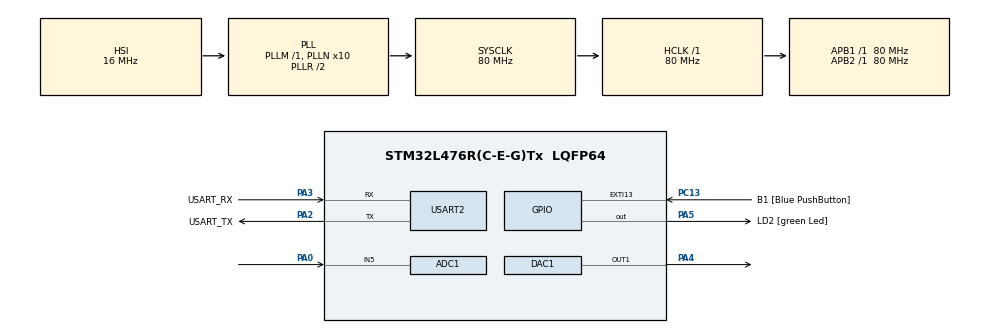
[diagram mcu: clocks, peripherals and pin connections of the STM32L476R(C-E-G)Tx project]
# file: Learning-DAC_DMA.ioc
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ADC1.Channel-0\#ChannelRegularConversion=ADC_CHANNEL_5
ADC1.ContinuousConvMode=ENABLE
ADC1.DMAContinuousRequests=ENABLE
ADC1.NbrOfConversionFlag=1
ADC1.OffsetNumber-0\#ChannelRegularConversion=ADC_OFFSET_NONE
ADC1.Rank-0\#ChannelRegularConversion=1
ADC1.SamplingTime-0\#ChannelRegularConversion=ADC_SAMPLETIME_2CYCLES_5
ADC1.master=1
DAC1.DAC_Trigger-DAC_OUT1=DAC_TRIGGER_T2_TRGO
Dma.ADC1.1.Direction=DMA_PERIPH_TO_MEMORY
Dma.ADC1.1.Instance=DMA2_Channel3
Dma.ADC1.1.MemDataAlignment=DMA_MDATAALIGN_HALFWORD
Dma.ADC1.1.MemInc=DMA_MINC_ENABLE
Dma.ADC1.1.Mode=DMA_CIRCULAR
Dma.ADC1.1.PeriphDataAlignment=DMA_PDATAALIGN_HALFWORD
Dma.ADC1.1.PeriphInc=DMA_PINC_DISABLE
Dma.ADC1.1.Priority=DMA_PRIORITY_LOW
Dma.DAC_CH1.0.Direction=DMA_MEMORY_TO_PERIPH
Dma.DAC_CH1.0.Instance=DMA1_Channel3
Dma.DAC_CH1.0.MemDataAlignment=DMA_MDATAALIGN_WORD
Dma.DAC_CH1.0.MemInc=DMA_MINC_ENABLE
Dma.DAC_CH1.0.Mode=DMA_CIRCULAR
Dma.DAC_CH1.0.PeriphDataAlignment=DMA_PDATAALIGN_WORD
Dma.DAC_CH1.0.PeriphInc=DMA_PINC_DISABLE
Dma.DAC_CH1.0.Priority=DMA_PRIORITY_LOW
Dma.Request0=DAC_CH1
Dma.Request1=ADC1
Mcu.Family=STM32L4
Mcu.Name=STM32L476R(C-E-G)Tx
Mcu.Package=LQFP64
NVIC.DMA1_Channel3_IRQn=true\:0\:0\:false\:false\:true\:false\:true\:true
NVIC.DMA2_Channel3_IRQn=true\:0\:0\:false\:false\:true\:false\:true\:true
NVIC.PriorityGroup=NVIC_PRIORITYGROUP_4
PA0.Signal=ADCx_IN5
PA13\ (JTMS-SWDIO).GPIO_Label=TMS
PA13\ (JTMS-SWDIO).Mode=Serial_Wire
PA13\ (JTMS-SWDIO).Signal=SYS_JTMS-SWDIO
PA14\ (JTCK-SWCLK).GPIO_Label=TCK
PA14\ (JTCK-SWCLK).Mode=Serial_Wire
PA14\ (JTCK-SWCLK).Signal=SYS_JTCK-SWCLK
PA2.GPIO_Label=USART_TX
PA2.GPIO_Mode=GPIO_MODE_AF_PP
PA2.GPIO_PuPd=GPIO_NOPULL
PA2.GPIO_Speed=GPIO_SPEED_FREQ_VERY_HIGH
PA2.Mode=Asynchronous
PA2.Signal=USART2_TX
PA3.GPIO_Label=USART_RX
PA3.GPIO_Mode=GPIO_MODE_AF_PP
PA3.GPIO_PuPd=GPIO_NOPULL
PA3.GPIO_Speed=GPIO_SPEED_FREQ_VERY_HIGH
PA3.Mode=Asynchronous
PA3.Signal=USART2_RX
PA4.Signal=COMP_DAC11_group
PA5.GPIO_Label=LD2 [green Led]
PA5.GPIO_ModeDefaultOutputPP=GPIO_MODE_OUTPUT_PP
PA5.GPIO_PuPd=GPIO_NOPULL
PA5.GPIO_Speed=GPIO_SPEED_FREQ_LOW
PA5.Signal=GPIO_Output
PB3\ (JTDO-TRACESWO).GPIO_Label=SWO
PB3\ (JTDO-TRACESWO).Signal=SYS_JTDO-SWO
PC13.GPIO_Label=B1 [Blue PushButton]
PC13.GPIO_ModeDefaultEXTI=GPIO_MODE_IT_FALLING
PC13.GPIO_PuPd=GPIO_NOPULL
PC13.Signal=GPXTI13
PC14-OSC32_IN\ (PC14).Mode=LSE-External-Oscillator
PC14-OSC32_IN\ (PC14).Signal=RCC_OSC32_IN
PC15-OSC32_OUT\ (PC15).Mode=LSE-External-Oscillator
PC15-OSC32_OUT\ (PC15).Signal=RCC_OSC32_OUT
PH0-OSC_IN\ (PH0).Signal=RCC_OSC_IN
PH1-OSC_OUT\ (PH1).Signal=RCC_OSC_OUT
ProjectManager.HeapSize=0x200
ProjectManager.StackSize=0x400
ProjectManager.TargetToolchain=STM32CubeIDE
RCC.ADCFreq_Value=64000000
RCC.AHBFreq_Value=80000000
RCC.APB1Freq_Value=80000000
RCC.APB1TimFreq_Value=80000000
RCC.APB2Freq_Value=80000000
RCC.APB2TimFreq_Value=80000000
RCC.CortexFreq_Value=80000000
RCC.HCLKFreq_Value=80000000
RCC.HSE_VALUE=8000000
RCC.HSI_VALUE=16000000
RCC.MSI_VALUE=4000000
RCC.PLLN=10
RCC.PLLSourceVirtual=RCC_PLLSOURCE_HSI
RCC.PREFETCH_ENABLE=1
RCC.SYSCLKFreq_VALUE=80000000
RCC.SYSCLKSource=RCC_SYSCLKSOURCE_PLLCLK
RCC.USBFreq_Value=64000000
RCC.VCOOutputFreq_Value=160000000
SH.ADCx_IN5.0=ADC1_IN5,IN5-Single-Ended
SH.COMP_DAC11_group.0=DAC1_OUT1,DAC_OUT1
TIM2.Period=624
TIM2.TIM_MasterOutputTrigger=TIM_TRGO_UPDATE
USART2.VirtualMode-Asynchronous=VM_ASYNC
VP_TIM2_VS_ClockSourceINT.Mode=Internal
board=NUCLEO-L476RG

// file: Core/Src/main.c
/* USER CODE BEGIN Header */
/**
  ******************************************************************************
  * @file           : main.c
  * @brief          : Main program body
  ******************************************************************************
  * @attention
  *
  * Copyright (c) 2023 STMicroelectronics.
  * All rights reserved.
  *
  * This software is licensed under terms that can be found in the LICENSE file
  * in the root directory of this software component.
  * If no LICENSE file comes with this software, it is provided AS-IS.
  *
  ******************************************************************************
  */
/* USER CODE END Header */
#include "main.h"

ADC_HandleTypeDef hadc1;
DMA_HandleTypeDef hdma_adc1;

DAC_HandleTypeDef hdac1;
DMA_HandleTypeDef hdma_dac_ch1;

TIM_HandleTypeDef htim2;

UART_HandleTypeDef huart2;

/* USER CODE BEGIN PV */
uint32_t value[2]={0,0};
/* USER CODE END PV */

void SystemClock_Config(void);
static void MX_GPIO_Init(void);
static void MX_DMA_Init(void);
static void MX_USART2_UART_Init(void);
static void MX_DAC1_Init(void);
static void MX_ADC1_Init(void);
static void MX_TIM2_Init(void);

int main(void)
{
  /* USER CODE BEGIN 1 */
	// My loop increment for
	int i = 0;
	// My sinus lookup table (n = 128)
	uint32_t sinus_lut[]={
		2047,2128,2209,2289,2369,2449,2528,2606,2684,2760,2835,2909,2982,3053,3123,3191,3257,3321,3384,3444,3502,3558,3611,3662,3711,3756,3800,3840,3878,3913,3944,3973,3999,4022,4042,4059,4072,4082,4090,4094,4094,4092,4086,4078,4066,4051,4032,4011,3987,3959,3929,3895,3859,3820,3778,3734,3687,3637,3585,3530,3473,3414,3353,3289,3224,3157,3088,3018,2946,2872,2798,2722,2645,2567,2489,2409,2329,2249,2168,2087,2007,1926,1845,1765,1685,1605,1527,1449,1372,1296,1222,1148,1076,1006,937,870,805,741,680,621,564,509,457,407,360,316,274,235,199,165,135,107,83,62,43,28,16,8,2,0,0,4,12,22,35,52,72,95,121,150,181,216,254,294,338,383,432,483,536,592,650,710,773,837,903,971,1041,1112,1185,1259,1334,1410,1488,1566,1645,1725,1805,1885,1966,2047
	};
	// Calculate the number of elements in my sinus lookup table
	int n = 0;
	n = sizeof(sinus_lut)/sizeof(uint32_t);
	// I don't take the last element because it is equal to the first
	n -= 1;
  /* USER CODE END 1 */

  /* MCU Configuration--------------------------------------------------------*/

  /* Reset of all peripherals, Initializes the Flash interface and the Systick. */
  HAL_Init();

  /* Configure the system clock */
  SystemClock_Config();

  /* Initialize all configured peripherals */
  MX_GPIO_Init();
  MX_DMA_Init();
  MX_USART2_UART_Init();
  MX_DAC1_Init();
  MX_ADC1_Init();
  MX_TIM2_Init();
  /* USER CODE BEGIN 2 */
  // Start DAC with DMA
  HAL_DAC_Start_DMA(&hdac1, DAC_CHANNEL_1, (uint32_t*)sinus_lut, n, DAC_ALIGN_12B_R);
  HAL_TIM_Base_Start(&htim2);
  HAL_ADCEx_Calibration_Start(&hadc1, ADC_SINGLE_ENDED);
  /* USER CODE END 2 */

  /* Infinite loop */
  /* USER CODE BEGIN WHILE */
  while (1)
  {
	if(i==0)
	{
		// Set
		HAL_GPIO_WritePin(LD2_GPIO_Port, LD2_Pin, GPIO_PIN_SET);
		// read adc
		HAL_ADC_Start_DMA(&hadc1, &value[1], 1);
		// map it
		i = 1;
		// reset
		HAL_GPIO_WritePin(LD2_GPIO_Port, LD2_Pin, GPIO_PIN_RESET);
	    // wait 1 ms
	    HAL_Delay(1);
	}
	else
	{
		// Set
		HAL_GPIO_WritePin(LD2_GPIO_Port, LD2_Pin, GPIO_PIN_SET);
		// read adc
		HAL_ADC_Start_DMA(&hadc1, &value[0], 1);
		// map it
		i = 0;
		// reset
		HAL_GPIO_WritePin(LD2_GPIO_Port, LD2_Pin, GPIO_PIN_RESET);
	    // wait 1 ms
	    HAL_Delay(1);
	}
    /* USER CODE END WHILE */

  }
}

void SystemClock_Config(void)
{
  RCC_OscInitTypeDef RCC_OscInitStruct = {0};
  RCC_ClkInitTypeDef RCC_ClkInitStruct = {0};

  /** Configure the main internal regulator output voltage
  */
  if (HAL_PWREx_ControlVoltageScaling(PWR_REGULATOR_VOLTAGE_SCALE1) != HAL_OK)
  {
    Error_Handler();
  }

  /** Initializes the RCC Oscillators according to the specified parameters
  * in the RCC_OscInitTypeDef structure.
  */
  RCC_OscInitStruct.OscillatorType = RCC_OSCILLATORTYPE_HSI;
  RCC_OscInitStruct.HSIState = RCC_HSI_ON;
  RCC_OscInitStruct.HSICalibrationValue = RCC_HSICALIBRATION_DEFAULT;
  RCC_OscInitStruct.PLL.PLLState = RCC_PLL_ON;
  RCC_OscInitStruct.PLL.PLLSource = RCC_PLLSOURCE_HSI;
  RCC_OscInitStruct.PLL.PLLM = 1;
  RCC_OscInitStruct.PLL.PLLN = 10;
  RCC_OscInitStruct.PLL.PLLP = RCC_PLLP_DIV7;
  RCC_OscInitStruct.PLL.PLLQ = RCC_PLLQ_DIV2;
  RCC_OscInitStruct.PLL.PLLR = RCC_PLLR_DIV2;
  if (HAL_RCC_OscConfig(&RCC_OscInitStruct) != HAL_OK)
  {
    Error_Handler();
  }

  /** Initializes the CPU, AHB and APB buses clocks
  */
  RCC_ClkInitStruct.ClockType = RCC_CLOCKTYPE_HCLK|RCC_CLOCKTYPE_SYSCLK
                              |RCC_CLOCKTYPE_PCLK1|RCC_CLOCKTYPE_PCLK2;
  RCC_ClkInitStruct.SYSCLKSource = RCC_SYSCLKSOURCE_PLLCLK;
  RCC_ClkInitStruct.AHBCLKDivider = RCC_SYSCLK_DIV1;
  RCC_ClkInitStruct.APB1CLKDivider = RCC_HCLK_DIV1;
  RCC_ClkInitStruct.APB2CLKDivider = RCC_HCLK_DIV1;

  if (HAL_RCC_ClockConfig(&RCC_ClkInitStruct, FLASH_LATENCY_4) != HAL_OK)
  {
    Error_Handler();
  }
}

static void MX_ADC1_Init(void)
{

  ADC_MultiModeTypeDef multimode = {0};
  ADC_ChannelConfTypeDef sConfig = {0};

  /** Common config
  */
  hadc1.Instance = ADC1;
  hadc1.Init.ClockPrescaler = ADC_CLOCK_ASYNC_DIV1;
  hadc1.Init.Resolution = ADC_RESOLUTION_12B;
  hadc1.Init.DataAlign = ADC_DATAALIGN_RIGHT;
  hadc1.Init.ScanConvMode = ADC_SCAN_DISABLE;
  hadc1.Init.EOCSelection = ADC_EOC_SINGLE_CONV;
  hadc1.Init.LowPowerAutoWait = DISABLE;
  hadc1.Init.ContinuousConvMode = ENABLE;
  hadc1.Init.NbrOfConversion = 1;
  hadc1.Init.DiscontinuousConvMode = DISABLE;
  hadc1.Init.ExternalTrigConv = ADC_SOFTWARE_START;
  hadc1.Init.ExternalTrigConvEdge = ADC_EXTERNALTRIGCONVEDGE_NONE;
  hadc1.Init.DMAContinuousRequests = ENABLE;
  hadc1.Init.Overrun = ADC_OVR_DATA_PRESERVED;
  hadc1.Init.OversamplingMode = DISABLE;
  if (HAL_ADC_Init(&hadc1) != HAL_OK)
  {
    Error_Handler();
  }

  /** Configure the ADC multi-mode
  */
  multimode.Mode = ADC_MODE_INDEPENDENT;
  if (HAL_ADCEx_MultiModeConfigChannel(&hadc1, &multimode) != HAL_OK)
  {
    Error_Handler();
  }

  /** Configure Regular Channel
  */
  sConfig.Channel = ADC_CHANNEL_5;
  sConfig.Rank = ADC_REGULAR_RANK_1;
  sConfig.SamplingTime = ADC_SAMPLETIME_2CYCLES_5;
  sConfig.SingleDiff = ADC_SINGLE_ENDED;
  sConfig.OffsetNumber = ADC_OFFSET_NONE;
  sConfig.Offset = 0;
  if (HAL_ADC_ConfigChannel(&hadc1, &sConfig) != HAL_OK)
  {
    Error_Handler();
  }

}

static void MX_DAC1_Init(void)
{

  DAC_ChannelConfTypeDef sConfig = {0};

  /** DAC Initialization
  */
  hdac1.Instance = DAC1;
  if (HAL_DAC_Init(&hdac1) != HAL_OK)
  {
    Error_Handler();
  }

  /** DAC channel OUT1 config
  */
  sConfig.DAC_SampleAndHold = DAC_SAMPLEANDHOLD_DISABLE;
  sConfig.DAC_Trigger = DAC_TRIGGER_T2_TRGO;
  sConfig.DAC_OutputBuffer = DAC_OUTPUTBUFFER_ENABLE;
  sConfig.DAC_ConnectOnChipPeripheral = DAC_CHIPCONNECT_DISABLE;
  sConfig.DAC_UserTrimming = DAC_TRIMMING_FACTORY;
  if (HAL_DAC_ConfigChannel(&hdac1, &sConfig, DAC_CHANNEL_1) != HAL_OK)
  {
    Error_Handler();
  }

}

static void MX_TIM2_Init(void)
{

  TIM_ClockConfigTypeDef sClockSourceConfig = {0};
  TIM_MasterConfigTypeDef sMasterConfig = {0};

  htim2.Instance = TIM2;
  htim2.Init.Prescaler = 0;
  htim2.Init.CounterMode = TIM_COUNTERMODE_UP;
  htim2.Init.Period = 624;
  htim2.Init.ClockDivision = TIM_CLOCKDIVISION_DIV1;
  htim2.Init.AutoReloadPreload = TIM_AUTORELOAD_PRELOAD_DISABLE;
  if (HAL_TIM_Base_Init(&htim2) != HAL_OK)
  {
    Error_Handler();
  }
  sClockSourceConfig.ClockSource = TIM_CLOCKSOURCE_INTERNAL;
  if (HAL_TIM_ConfigClockSource(&htim2, &sClockSourceConfig) != HAL_OK)
  {
    Error_Handler();
  }
  sMasterConfig.MasterOutputTrigger = TIM_TRGO_UPDATE;
  sMasterConfig.MasterSlaveMode = TIM_MASTERSLAVEMODE_DISABLE;
  if (HAL_TIMEx_MasterConfigSynchronization(&htim2, &sMasterConfig) != HAL_OK)
  {
    Error_Handler();
  }

}

static void MX_USART2_UART_Init(void)
{

  huart2.Instance = USART2;
  huart2.Init.BaudRate = 115200;
  huart2.Init.WordLength = UART_WORDLENGTH_8B;
  huart2.Init.StopBits = UART_STOPBITS_1;
  huart2.Init.Parity = UART_PARITY_NONE;
  huart2.Init.Mode = UART_MODE_TX_RX;
  huart2.Init.HwFlowCtl = UART_HWCONTROL_NONE;
  huart2.Init.OverSampling = UART_OVERSAMPLING_16;
  huart2.Init.OneBitSampling = UART_ONE_BIT_SAMPLE_DISABLE;
  huart2.AdvancedInit.AdvFeatureInit = UART_ADVFEATURE_NO_INIT;
  if (HAL_UART_Init(&huart2) != HAL_OK)
  {
    Error_Handler();
  }

}

static void MX_DMA_Init(void)
{

  /* DMA controller clock enable */
  __HAL_RCC_DMA1_CLK_ENABLE();
  __HAL_RCC_DMA2_CLK_ENABLE();

  /* DMA interrupt init */
  /* DMA1_Channel3_IRQn interrupt configuration */
  HAL_NVIC_SetPriority(DMA1_Channel3_IRQn, 0, 0);
  HAL_NVIC_EnableIRQ(DMA1_Channel3_IRQn);
  /* DMA2_Channel3_IRQn interrupt configuration */
  HAL_NVIC_SetPriority(DMA2_Channel3_IRQn, 0, 0);
  HAL_NVIC_EnableIRQ(DMA2_Channel3_IRQn);

}

static void MX_GPIO_Init(void)
{
  GPIO_InitTypeDef GPIO_InitStruct = {0};

  /* GPIO Ports Clock Enable */
  __HAL_RCC_GPIOC_CLK_ENABLE();
  __HAL_RCC_GPIOH_CLK_ENABLE();
  __HAL_RCC_GPIOA_CLK_ENABLE();
  __HAL_RCC_GPIOB_CLK_ENABLE();

  /*Configure GPIO pin Output Level */
  HAL_GPIO_WritePin(LD2_GPIO_Port, LD2_Pin, GPIO_PIN_RESET);

  /*Configure GPIO pin : B1_Pin */
  GPIO_InitStruct.Pin = B1_Pin;
  GPIO_InitStruct.Mode = GPIO_MODE_IT_FALLING;
  GPIO_InitStruct.Pull = GPIO_NOPULL;
  HAL_GPIO_Init(B1_GPIO_Port, &GPIO_InitStruct);

  /*Configure GPIO pin : LD2_Pin */
  GPIO_InitStruct.Pin = LD2_Pin;
  GPIO_InitStruct.Mode = GPIO_MODE_OUTPUT_PP;
  GPIO_InitStruct.Pull = GPIO_NOPULL;
  GPIO_InitStruct.Speed = GPIO_SPEED_FREQ_LOW;
  HAL_GPIO_Init(LD2_GPIO_Port, &GPIO_InitStruct);

}

void Error_Handler(void)
{
  __disable_irq();
  while (1)
  {
  }
}
